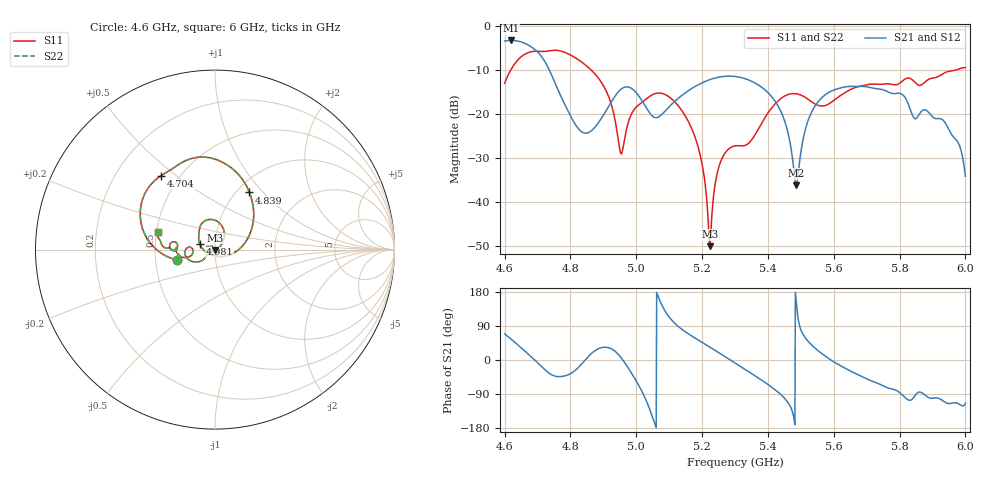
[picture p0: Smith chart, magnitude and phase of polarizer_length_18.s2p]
! TOUCHSTONE file generated by CST MICROWAVE STUDIO
! Date and time: Sun Dec  1 17:17:02 2024
! Project name: test_tuning.cst
! Parameters = {airCoaxOuterDiameter=3; chamferAngle=45; chamferWidth=24; connectorLength=10; drillingHoleDiameter=4.1; feedLength=60; flareDiameter=130; flareLength=70; gratingDistance=0; gratingGap=1.90274; outletLength=30; polarizerLength=98; probe1Diameter=1.3; probe1Distance=14; probe1Length=12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
! Header version: 2024
! Port assignment regex: !\s*Touchstone port\s*([0-9]+)\s*=\s*(CST MWS port|CST DES external port|CST DES block port)\s*(.+)\s* \(\"(.*)\"\)(\s*mode\s*([0-9]+))?.*
! Touchstone port assignment:
! Touchstone port 1 = CST MWS port 1 ("Input1")
! Touchstone port 2 = CST MWS port 2 ("Input2")
# GHz S MA R 50
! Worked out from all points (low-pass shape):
!   1001 points, 4.6 GHz to 6 GHz, reference 50 ohm
!   highest |S21| = -3.38 dB at 4.62 GHz (marker M1); lowest = -36.3 dB at 5.486 GHz (marker M2)
!   |S21| within 3 dB of the highest: start of sweep to 4.705 GHz
!   lowest |S11| = -50.1 dB at 5.223 GHz (marker M3), VSWR 1.01, Z = 50.2 - j0.259 ohm
!   |S11| at or under -10 dB: start of sweep to 4.619431 GHz; 4.862 GHz to 5.975 GHz (1.113 GHz wide, 20.5 % of centre)
!   |S22| runs from -50.1 to -5.6 dB; largest |S21 - S12| = 4.6e-07
!   S11 on the Smith chart (normalised r, x): 4.6 GHz: 0.64, -0.08; 4.704 GHz: 0.40, +0.44; 4.839 GHz: 1.14, +0.84; 4.981 GHz: 0.84, +0.05; 6 GHz: 0.51, +0.11
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4.6  0.2213 -164.9  0.6669 69.0  0.6669 69.0  0.2213 -164.9
4.6196  0.317 -178.7  0.6773 55.2  0.6773 55.2  0.317 -178.7
4.7036  0.5096 126.1  0.4858 -10.3  0.4858 -10.3  0.5096 126.1
4.7596  0.5231 100.5  0.1965 -43.6  0.1965 -43.6  0.5231 100.5
4.8338  0.3855 61.7  0.06238 -10.6  0.06238 -10.6  0.3855 61.7
4.8394  0.3717 59.0  0.06074 -5.1  0.06074 -5.1  0.3717 59.0
4.9122  0.1693 12.2  0.1139 33.2  0.1139 33.2  0.1693 12.2
4.9528  0.03546 -95.8  0.1883 7.3  0.1883 7.3  0.03546 -95.8
4.9808  0.09039 159.4  0.1977 -28.0  0.1977 -28.0  0.09039 159.4
5.0676  0.1714 104.4  0.09174 165.3  0.09174 165.3  0.1714 104.4
5.174  0.06023 43.3  0.1986 60.3  0.1986 60.3  0.06023 43.3
5.202  0.02433 26.7  0.2253 45.4  0.2253 45.4  0.02433 26.7
5.223  0.003132 -55.4  0.2429 34.3  0.2429 34.3  0.003132 -55.4
5.2524  0.02584 -160.2  0.2601 18.4  0.2601 18.4  0.02584 -160.2
5.3  0.0431 -173.5  0.2642 -8.0  0.2642 -8.0  0.0431 -173.5
5.4288  0.137 -150.1  0.1259 -83.3  0.1259 -83.3  0.137 -150.1
5.4862  0.168 -175.6  0.01533 153.0  0.01533 153.0  0.168 -175.6
5.5338  0.1353 174.7  0.1062 38.8  0.1062 38.8  0.1353 174.7
5.6234  0.1632 -164.5  0.1969 -16.3  0.1969 -16.3  0.1632 -164.5
5.7676  0.2178 177.9  0.1748 -74.4  0.1748 -74.4  0.2178 177.9
5.9328  0.2852 177.3  0.08376 -108.3  0.08376 -108.3  0.2852 177.3
6  0.3324 162.4  0.01951 -114.3  0.01951 -114.3  0.3324 162.4
